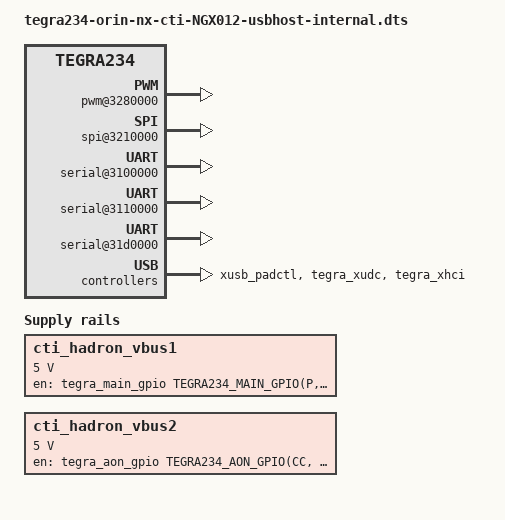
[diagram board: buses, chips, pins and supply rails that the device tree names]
/*
 * Copyright (c) 2022, Connect Tech Inc.  All rights reserved.
 *
 * This program is free software; you can redistribute it and/or modify it
 * under the terms and conditions of the GNU General Public License,
 * version 2, as published by the Free Software Foundation.
 *
 * This program is distributed in the hope it will be useful, but WITHOUT
 * ANY WARRANTY; without even the implied warranty of MERCHANTABILITY or
 * FITNESS FOR A PARTICULAR PURPOSE.  See the GNU General Public License for
 * more details.
 *
 * You should have received a copy of the GNU General Public License
 * along with this program.  If not, see <http://www.gnu.org/licenses/>.
 */

#include "tegra234-orin-nx-cti-base.dtsi"

/{
    nvidia,dtsfilename = "tegra234-orin-nx-cti-NGX012.dts";
    
    
    display@13800000 {
            status = "disabled";
    };

    mttcan@c310000 {
            status = "disabled";
    };

//Note USB3 P1 is only on ORIN-NX regular nx variety will only have 1 usb!
    fixed-regulators{
        /delete-node/ cti_usb_vbus;
        cti_hadron_vbus1: regulator@201 {
            compatible = "regulator-fixed";
            reg=<201>;
            regulator-name = "cti-hadron-vbus1";
            regulator-min-microvolt = <5000000>;
            regulator-max-microvolt = <5000000>;
            gpio = <&tegra_main_gpio TEGRA234_MAIN_GPIO(P, 6) 0>;
            enable-active-high;
            regulator-boot-on;
            regulator-always-on;
        };
        cti_hadron_vbus2: regulator@202 {
            compatible = "regulator-fixed";
            reg=<202>;
            regulator-name = "cti-hadron-vbus1";
            regulator-min-microvolt = <5000000>;
            regulator-max-microvolt = <5000000>;
            gpio = <&tegra_aon_gpio TEGRA234_AON_GPIO(CC, 2) 0>;
            enable-active-high;
            regulator-boot-on;
            regulator-always-on;
        };

    };

    pwm@3280000 {/* PWM1 40pin header, pin 15 */
        status = "okay";
    };
  
    pwm@32c0000 {/* PWM5 40 pin header, pin 33 */
        status = "disabled";
    };

    spi@3210000{
        status="okay";
    };

    spi@3230000{
        status="disabled";
    };


    //serial
    serial@3100000 { // /dev/ttyTHS0 pinUART1
        status = "okay";
    };

    serial@3110000 {//uart0
        /* UARTB */
        status = "okay";
    };

    serial@31d0000 {/* UARTI - SBSA */
        status = "okay";
    };

};

&xusb_padctl{
    status = "okay";
    pads {
        usb2 {
            lanes {
                usb2-0 {
                    nvidia,function = "xusb";
                    vbus-supply = <&cti_hadron_vbus1>;
                    status = "okay";
                };
                usb2-1 {
                    nvidia,function = "xusb";
                    vbus-supply = <&cti_hadron_vbus2>;
                    status = "okay";
                };
                usb2-2 {
                    nvidia,function = "xusb";
                    status = "okay";
                };
            };
        };
        usb3 {
            lanes {
                usb3-0 {
                    nvidia,function = "xusb";
                    status = "okay";
                };
                usb3-1 {
                    nvidia,function = "xusb";
                    status = "okay";
                };               
            };
        };
    };

    ports {
        /delete-node/ usb2-0;
        usb2-0 {
            mode = "host";
            status = "okay";
            vbus-supply = <&cti_hadron_vbus1>;
          //  usb-role-switch;
          //  /delete-node/ connector;
          // connector {
                /* NOTE: PN: While the Physical connector is Type-C we are using the
                 * microUSB driver as the HW uses the older OTG_ID/VBUS_DET gpio
                 * for indicating role switchs
                 */
          //      compatible = "gpio-usb-b-connector", "usb-b-connector";
          //      label = "micro-USB";
         ///       type = "micro";
         ///       vbus-gpios = <&tegra_main_gpio TEGRA234_MAIN_GPIO(Z, 1) GPIO_ACTIVE_HIGH>;
                //Note EE.02 is a normal gpio on hadron
                //id-gpios = <&tegra_aon_gpio TEGRA234_AON_GPIO(EE, 2) GPIO_ACTIVE_HIGH>;
         //   };

        };
        usb2-1 {
            mode = "host";
            vbus-supply = <&cti_hadron_vbus2>;
            status = "okay";
        };
        usb2-2 {/* Goes to M2.E */
            mode = "host";
            vbus-supply = <&vdd_5v_sys>;
            status = "okay";
        };
        usb3-0 { /* Goes to OTG */
            nvidia,usb2-companion = <0>;
            status = "okay";
        };
        usb3-1 {/* Goes to host USB */
            nvidia,usb2-companion = <1>;
            status = "okay";
        };

    };


};

&tegra_xudc{
        status = "okay";
        phys = <&{/xusb_padctl@3520000/pads/usb2/lanes/usb2-0}>,
            <&{/xusb_padctl@3520000/pads/usb3/lanes/usb3-0}>;
        phy-names = "usb2-0", "usb3-0";
        nvidia,xusb-padctl = <&xusb_padctl>;
};

&tegra_xhci{
        status = "okay";
        phys = <&{/xusb_padctl@3520000/pads/usb2/lanes/usb2-0}>,
            <&{/xusb_padctl@3520000/pads/usb2/lanes/usb2-1}>,
            <&{/xusb_padctl@3520000/pads/usb2/lanes/usb2-2}>,
            <&{/xusb_padctl@3520000/pads/usb3/lanes/usb3-0}>,
            <&{/xusb_padctl@3520000/pads/usb3/lanes/usb3-1}>;
        phy-names = "usb2-0", "usb2-1", "usb2-2", "usb3-0", "usb3-1";
        nvidia,xusb-padctl = <&xusb_padctl>;

};

